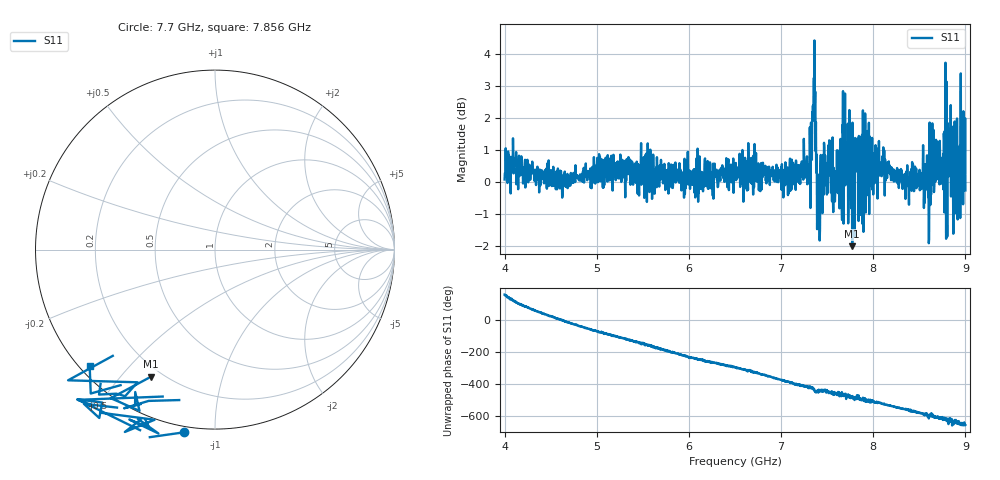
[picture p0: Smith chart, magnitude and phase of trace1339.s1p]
! Created with skrf 1.8.0 (http://scikit-rf.org).
# Hz S RI R 50.0
!freq ReS11 ImS11
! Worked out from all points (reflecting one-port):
!   1601 points, 4 GHz to 9 GHz, reference 50 ohm
!   lowest |S11| = -2.0 dB at 7.772 GHz (marker M1), VSWR 8.70, Z = 7.88 - j30.2 ohm
!   phase of S11 starts at 155 deg and turns -808 deg over the sweep
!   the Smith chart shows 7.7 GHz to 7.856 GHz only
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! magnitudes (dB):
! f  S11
! 4 GHz  0.1
! 4.1 GHz  0.6
! 4.625 GHz  -0.5
! 5.25 GHz  0.4
! 5.875 GHz  0.3
! 6.5 GHz  0.4
! 7.125 GHz  0.3
! 7.294 GHz  0.5
! 7.353 GHz  2.4
! 7.369 GHz  2.8
! 7.4 GHz  0.2
! 7.412 GHz  -0.7
! 7.478 GHz  0.8
! 7.591 GHz  0.3
! 7.669 GHz  1.5
! 7.75 GHz  1.1
! 7.772 GHz  -2.0
! 7.828 GHz  0.4
! 7.875 GHz  0.1
! 7.928 GHz  0.0
! 7.981 GHz  0.0
! 8.375 GHz  0.0
! 8.609 GHz  0.6
! 8.656 GHz  1.6
! 8.819 GHz  0.2
! 8.875 GHz  0.4
! 8.972 GHz  1.2
! 9 GHz  -0.3
